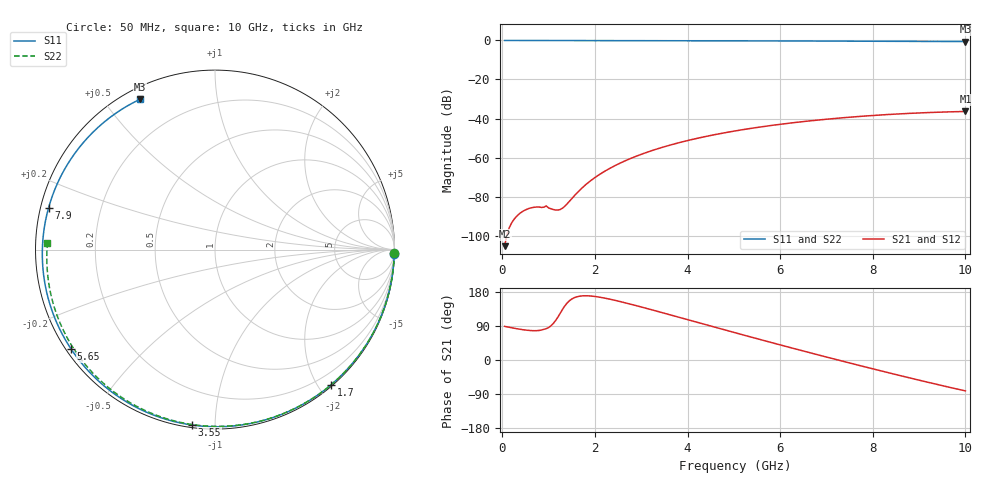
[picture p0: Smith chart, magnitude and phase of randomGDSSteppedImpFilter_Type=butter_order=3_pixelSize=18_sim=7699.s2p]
! freq	dB(S11)	phase(S11)	dB(S12)	phase(S12)
!  dB(S21)	phase(S21)	dB(S22)	phase(S22)
!S-par simulation data
#  GHz  S  DB  R 50
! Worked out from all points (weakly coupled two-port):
!   200 points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, 50 MHz to 10 GHz, reference 50 ohm
!   highest |S21| = -36.38 dB at 10 GHz (marker M1); lowest = -105.4 dB at 50 MHz (marker M2)
!   lowest |S11| = -0.6 dB at 10 GHz (marker M3), VSWR 30.22, Z = 2.29 + j30.9 ohm
!   |S11| at or under -10 dB: nowhere
!   |S22| runs from -0.6 to 0.0 dB; largest |S21 - S12| = 0
!   S11 on the Smith chart (normalised r, x): 50 MHz: 2, -80; 1.7 GHz: 0.02, -2.18; 3.55 GHz: 0.01, -0.88; 5.65 GHz: 0.01, -0.31; 7.9 GHz: 0.02, +0.12; 10 GHz: 0.05, +0.62
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0.05  -0.00 -1.4  -105.40 88.8  -105.40 88.8  -0.00 -1.0
0.4  -0.02 -11.8  -88.22 80.8  -88.22 80.8  -0.01 -8.3
0.75  -0.03 -22.1  -85.34 77.5  -85.34 77.5  -0.02 -15.6
1.5  -0.05 -43.7  -81.04 160.9  -81.04 160.9  -0.04 -31.0
1.55  -0.06 -45.1  -79.71 164.1  -79.71 164.1  -0.04 -32.0
1.7  -0.06 -49.3  -76.06 168.9  -76.06 168.9  -0.04 -35.0
1.75  -0.06 -50.7  -74.97 169.4  -74.97 169.4  -0.05 -36.0
2.05  -0.07 -58.9  -69.44 166.8  -69.44 166.8  -0.05 -42.0
2.45  -0.09 -69.6  -63.94 157.0  -63.94 157.0  -0.06 -49.9
2.9  -0.10 -81.3  -59.24 143.2  -59.24 143.2  -0.08 -58.6
3.4  -0.12 -93.8  -55.16 126.8  -55.16 126.8  -0.09 -68.1
3.55  -0.12 -97.5  -54.11 121.7  -54.11 121.7  -0.10 -70.9
4.25  -0.15 -114.0  -49.93 98.1  -49.93 98.1  -0.12 -83.7
5.05  -0.19 -132.1  -46.26 71.2  -46.26 71.2  -0.15 -97.9
5.65  -0.22 -145.3  -44.07 51.3  -44.07 51.3  -0.18 -108.3
6.2  -0.26 -157.2  -42.38 33.4  -42.38 33.4  -0.21 -117.6
6.7  -0.29 -167.9  -41.06 17.3  -41.06 17.3  -0.25 -125.9
7.3  -0.34 179.1  -39.72 -1.6  -39.72 -1.6  -0.29 -135.9
7.9  -0.39 165.9  -38.61 -20.2  -38.61 -20.2  -0.35 -145.9
8.35  -0.43 155.8  -37.92 -33.9  -37.92 -33.9  -0.39 -153.4
9.15  -0.50 137.3  -36.99 -57.6  -36.99 -57.6  -0.48 -167.1
10  -0.58 116.4  -36.38 -81.5  -36.38 -81.5  -0.59 177.8
